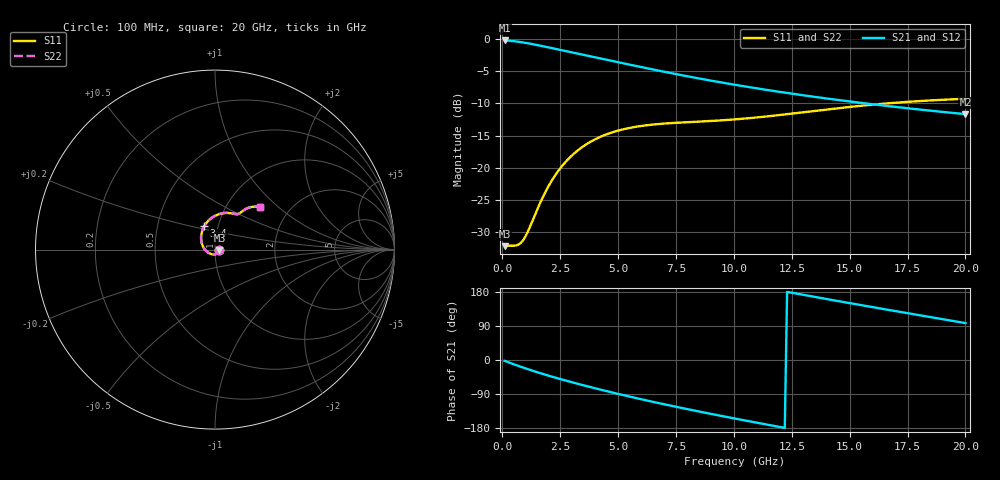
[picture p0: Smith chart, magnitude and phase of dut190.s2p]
! Touchstone file exported from HFSS 2024.1.0
!  File:  C:/UserFiles/LocalFiles/RDL_TSV_Batchsim/temp_RDL_TSV_190_1779441274.aedt
!  Generated:  05:30:31 PM May 22, 2026
!  Design:  RDL_TSV
!  Project:  temp_RDL_TSV_190_1779441274
!  Setup:  Setup1
!  Solution:  Sweep
! Variables:
!  dtsv = 13.42um
!  hbump = 3um
!  htsv = 98.29um
!  ldown = 372.78um
!  lrdl = 571.15um
!  p = 40
!  p1 = 41.28um
!  rhole = 10um
!  subl = 3402.94um
!  t = 450um
!  tdown = 3.1um
!  trdl = 2.39um
!  viad = 10um
!  wdown = 22.58um
!  wrdl = 17.68um
!  xbump = 18um
# GHz S MA R 50.000000
! Terminal data exported
! Port[1] = TM1_1_T1
! Port[2] = TM1_4_T1
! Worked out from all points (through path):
!   200 points, 100 MHz to 20 GHz, reference 50 ohm
!   highest |S21| = -0.22 dB at 100 MHz (marker M1); lowest = -11.7 dB at 20 GHz (marker M2)
!   group delay of S21, straight-line fit = 34.7 ps
!   lowest |S11| = -32.1 dB at 100 MHz (marker M3), VSWR 1.05, Z = 52.5 - j0.395 ohm
!   |S11| at or under -10 dB: start of sweep to 16.58 GHz
!   |S22| runs from -32.1 to -9.2 dB; largest |S21 - S12| = 9e-15
!   S11 on the Smith chart (normalised r, x): 100 MHz: 1.05, -0.01; 3.4 GHz: 0.86, +0.23; 20 GHz: 1.42, +0.76
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0.1  0.02472 -8.7  0.9746 -2.3  0.9746 -2.3  0.02472 -8.7
! Gamma 0 0 0 0
! Port Impedance 50 0 50 0
0.6  0.02505 -63.3  0.9573 -13.6  0.9573 -13.6  0.02501 -63.4
0.9  0.02752 -103.4  0.9405 -20.0  0.9405 -20.0  0.02749 -103.6
1.1  0.03198 -128.4  0.9274 -24.2  0.9274 -24.2  0.03198 -128.7
1.6  0.05187 -174.0  0.8912 -34.0  0.8912 -34.0  0.05205 -174.3
2  0.07242 162.5  0.861 -41.4  0.861 -41.4  0.07276 162.3
2.4  0.09392 145.1  0.8311 -48.5  0.8311 -48.5  0.09441 144.9
2.9  0.1197 128.3  0.7951 -57.0  0.7951 -57.0  0.1204 128.2
3.4  0.143 114.9  0.7607 -65.1  0.7607 -65.1  0.1438 114.8
3.5  0.1472 112.6  0.754 -66.7  0.754 -66.7  0.1481 112.5
4.3  0.1763 96.6  0.7027 -79.1  0.7027 -79.1  0.1774 96.5
5.2  0.1989 83.1  0.6493 -92.3  0.6493 -92.3  0.2002 83.1
6  0.2116 74.3  0.6059 -103.6  0.6059 -103.6  0.2131 74.2
6.8  0.2194 67.7  0.5662 -114.3  0.5662 -114.3  0.221 67.7
8.4  0.2283 59.9  0.498 -134.7  0.498 -134.7  0.2298 59.9
10.1  0.2384 56.5  0.4399 -155.1  0.4399 -155.1  0.24 56.5
11.6  0.2529 55.2  0.3983 -172.4  0.3983 -172.4  0.2544 55.2
13.4  0.2757 53.6  0.3576 167.5  0.3576 167.5  0.2773 53.5
15  0.2972 51.4  0.3278 150.1  0.3278 150.1  0.299 51.4
16.7  0.3175 48.6  0.3013 132.0  0.3013 132.0  0.3196 48.7
18.3  0.3325 46.0  0.2803 115.2  0.2803 115.2  0.3348 46.0
20  0.3438 43.5  0.2615 97.5  0.2615 97.5  0.3464 43.5
